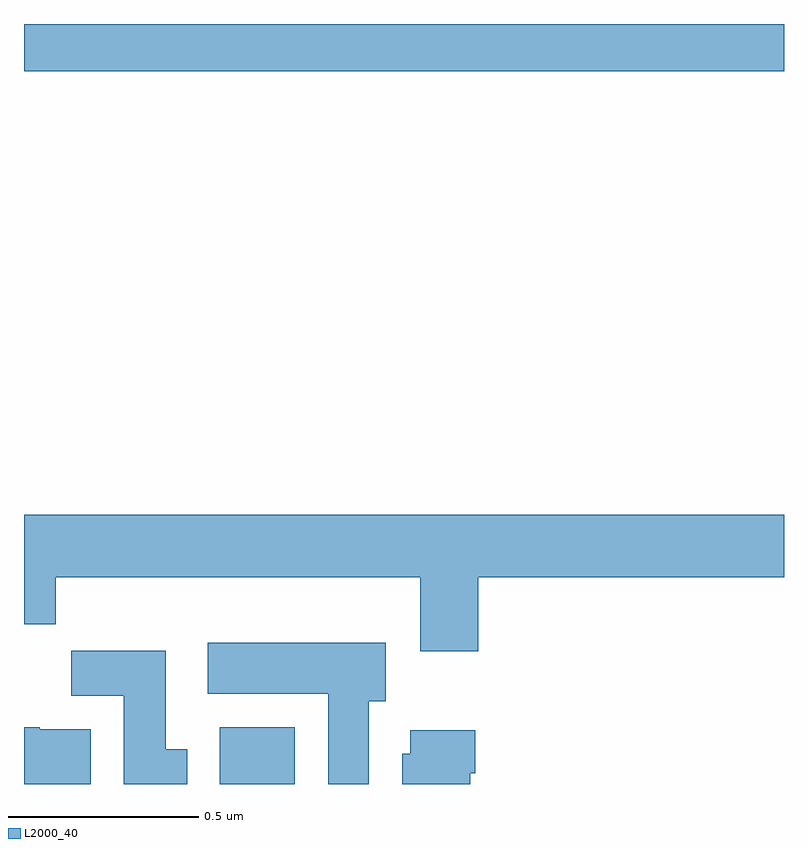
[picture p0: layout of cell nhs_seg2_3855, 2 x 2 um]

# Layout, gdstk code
import gdstk
lib = gdstk.Library(unit=1e-6, precision=1e-09)
def R(c, l, rs):  # rectangles x0, y0, x1, y1
    for r in rs: c.add(gdstk.rectangle(r[:2], r[2:], *l))
def P(c, l, *ps):  # polygons
    for p in ps: c.add(gdstk.Polygon(p, *l))
L2000_40 = (2000, 40)

nhs_seg2_3855 = lib.new_cell('nhs_seg2_3855')
R(nhs_seg2_3855, L2000_40, [(159.515,605.8,159.712,605.95), (159,607.676,161,607.8)])
P(nhs_seg2_3855, L2000_40, [(160.196,606.344),(161,606.344),(161,606.508),(159,606.508),(159,606.22),(159.083,606.22),(159.083,606.344),(160.043,606.344),(160.043,606.15),(160.196,606.15)],
  [(159.907,606.018),(159.952,606.018),(159.952,606.172),(159.483,606.172),(159.483,606.038),(159.8,606.038),(159.8,605.8),(159.907,605.8)],
  [(159.43,605.892),(159.373,605.892),(159.373,606.151),(159.124,606.151),(159.124,606.032),(159.263,606.032),(159.263,605.8),(159.43,605.8)],
  [(159.175,605.944),(159.042,605.944),(159.042,605.95),(159,605.95),(159,605.8),(159.175,605.8)],
  [(160.174,605.828),(160.187,605.828),(160.187,605.941),(160.016,605.941),(160.016,605.88),(159.995,605.88),(159.995,605.8),(160.174,605.8)])

lib.write_gds('nhs_seg2_3855.gds')
